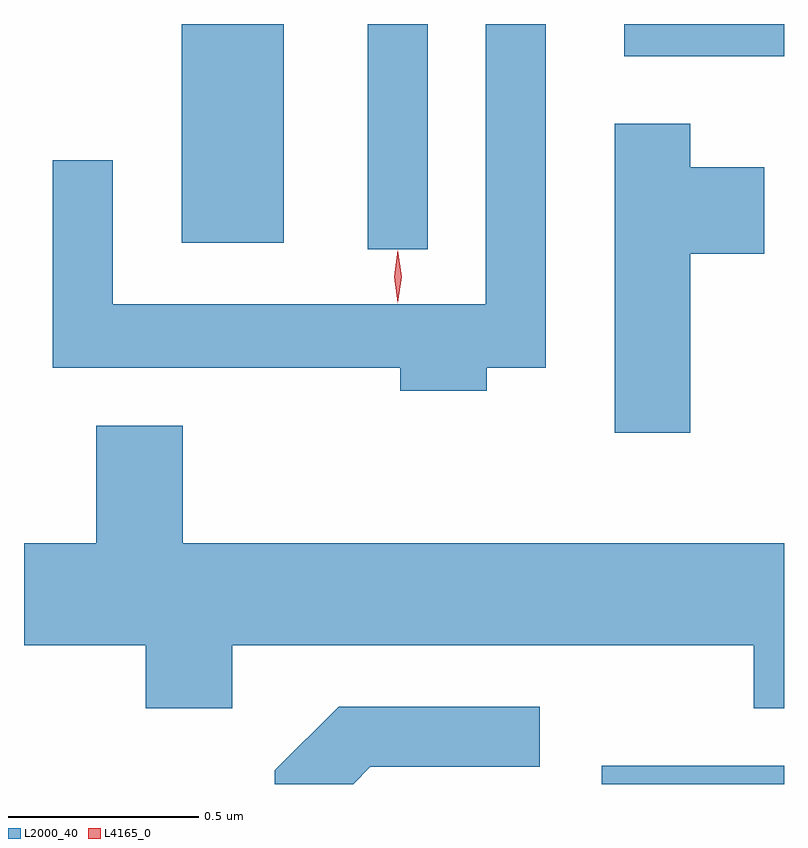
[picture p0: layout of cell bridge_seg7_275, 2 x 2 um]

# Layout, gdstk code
import gdstk
lib = gdstk.Library(unit=1e-6, precision=1e-09)
def R(c, l, rs):  # rectangles x0, y0, x1, y1
    for r in rs: c.add(gdstk.rectangle(r[:2], r[2:], *l))
def P(c, l, *ps):  # polygons
    for p in ps: c.add(gdstk.Polygon(p, *l))
L2000_40 = (2000, 40)
L4165_0 = (4165, 0)

bridge_seg7_275 = lib.new_cell('bridge_seg7_275')
R(bridge_seg7_275, L2000_40, [(1400.741,1800.531,1401.221,1800.579), (1400.126,1801.938,1400.284,1802.531), (1399.636,1801.956,1399.904,1802.531), (1400.801,1802.446,1401.221,1802.531)])
P(bridge_seg7_275, L2000_40, [(1400.439,1801.626),(1400.594,1801.626),(1400.594,1802.531),(1400.436,1802.531),(1400.436,1801.794),(1399.454,1801.794),(1399.454,1802.173),(1399.296,1802.173),(1399.296,1801.626),(1400.211,1801.626),(1400.211,1801.566),(1400.439,1801.566)],
  [(1400.974,1801.926),(1401.169,1801.926),(1401.169,1802.154),(1400.974,1802.154),(1400.974,1802.269),(1400.776,1802.269),(1400.776,1801.456),(1400.974,1801.456)],
  [(1399.769,1800.896),(1401.141,1800.896),(1401.141,1800.731),(1401.221,1800.731),(1401.221,1801.164),(1399.639,1801.164),(1399.639,1801.474),(1399.411,1801.474),(1399.411,1801.164),(1399.221,1801.164),(1399.221,1800.896),(1399.541,1800.896),(1399.541,1800.731),(1399.769,1800.731)],
  [(1400.132,1800.576),(1400.578,1800.576),(1400.578,1800.734),(1400.049,1800.734),(1399.881,1800.567),(1399.881,1800.531),(1400.087,1800.531)])
P(bridge_seg7_275, L4165_0, [(1400.205,1801.799),(1400.204,1801.8),(1400.195,1801.866),(1400.204,1801.932),(1400.205,1801.933),(1400.205,1801.932),(1400.215,1801.866),(1400.205,1801.8)],
  [(1400.205,1801.797),(1400.204,1801.798),(1400.195,1801.866),(1400.204,1801.936),(1400.205,1801.936),(1400.205,1801.936),(1400.215,1801.866),(1400.205,1801.798)])

lib.write_gds('bridge_seg7_275.gds')
